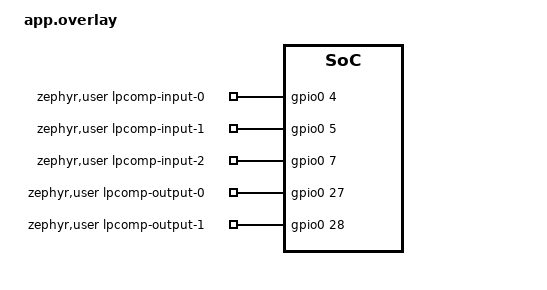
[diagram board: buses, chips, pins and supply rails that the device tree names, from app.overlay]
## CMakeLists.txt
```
# SPDX-License-Identifier: Apache-2.0

cmake_minimum_required(VERSION 3.20.0)
find_package(Zephyr REQUIRED HINTS $ENV{ZEPHYR_BASE})
project(cc27xx_comparator)

target_sources(app PRIVATE src/main.c)
target_sources(app PRIVATE src/comparator_lpf3.c)
```

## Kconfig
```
config LPF3_ENABLE_COMPARATOR_INTERRUPT
	bool "Enable comparator events to generate interrupts"
	default n

config LPCOMP_INPUT_COMBINATION_TEST_ENABLE
	bool "Enable comparator input combination test"
	default n

config LPCOMP_EVENT_TEST_ENABLE
	bool "Enable comparator trigger event test"
	default n

source "Kconfig.zephyr"
```

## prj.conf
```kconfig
# General configurations.

CONFIG_DEBUG=y
CONFIG_MAIN_STACK_SIZE=4096
CONFIG_GPIO=y

# Comparator driver settings.

CONFIG_LPF3_ENABLE_COMPARATOR_INTERRUPT=n

# Settings related to tests.

CONFIG_LPCOMP_INPUT_COMBINATION_TEST_ENABLE=y
CONFIG_LPCOMP_EVENT_TEST_ENABLE=y
```

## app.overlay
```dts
/ {
	zephyr,user {
		lpcomp-input-0-gpios = <&gpio0 4 GPIO_ACTIVE_HIGH>;
		lpcomp-input-1-gpios = <&gpio0 5 GPIO_ACTIVE_HIGH>;
		lpcomp-input-2-gpios = <&gpio0 7 GPIO_ACTIVE_HIGH>;
		lpcomp-output-0-gpios = <&gpio0 27 GPIO_PULL_UP>;
		lpcomp-output-1-gpios = <&gpio0 28 GPIO_PULL_UP>;
	};
};
```

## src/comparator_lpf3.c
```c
#include <zephyr/kernel.h>
#include <zephyr/sys_clock.h>

#include "comparator_lpf3.h"

/**
 * Bit 30 in IOC for DIO is set to enable hysteresis.
 * Bit 29 in IOC for DIO is set to configure it as an input.
 * Bits [14:13] in IOC for DIO is set to 2 to enable pull-up.
 */

#define LPCOMP_GPIO_CONFIG (1U << 30) | (1U << 29) | (2U << 13)

#define LPCOMP_GPIO_MUX IOC_MUX_ANALOG

/**
 * Comparator output takes 1 to 3 LFOSC clock cycles to
 * settle after enabling.
 *
 */

#define LPCOMP_SETTLING_TIME (110U)

#define LPCOMP_POS_INPUT_A1_GPIO 19
#define LPCOMP_POS_INPUT_A2_GPIO 20
#define LPCOMP_POS_INPUT_A3_GPIO 21
#define LPCOMP_POS_INPUT_OPEN    0xFF

#define LPCOMP_NEG_INPUT_A2_GPIO 20
#define LPCOMP_NEG_INPUT_A3_GPIO 21
#define LPCOMP_NEG_INPUT_OPEN    0xFF

#define LPCOMP_OUTPUT_0_GPIO 0
#define LPCOMP_OUTPUT_1_GPIO 15

#define LPCOMP_OUTPUT_GPIO_MUX 4U
#define LPCOMP_IRQ_LINE        (INT_CPUIRQ1 - 16U)

static comparator_lpf3_handle *comparator_isr_handle;

static void comparator_lpf3_isr(const void *arg)
{
	comparator_lpf3_handle *handle = comparator_isr_handle;

	LPCMPClearEvent();

	if (handle) {
		if (handle->data->callback) {
			handle->data->callback(handle, handle->data->callback_user_data);
		}
	}
}

int comparator_lpf3_init(comparator_lpf3_handle *handle)
{
	if (handle == NULL) {
		return -EINVAL;
	}

	if ((handle->config == NULL) || (handle->data == NULL)) {
		return -EINVAL;
	}

	if (handle->data->is_open == true) {
		return -EBUSY;
	}

	int irq_key;

	/* Validate configurations. */

	bool valid_configuration = true;

	/* Validate positive input to comparator. */

	if ((handle->config->positive_input != POS_INPUT_A1) &&
	    (handle->config->positive_input != POS_INPUT_A2) &&
	    (handle->config->positive_input != POS_INPUT_A3) &&
	    (handle->config->positive_input != POS_INPUT_VDDS)) {
		valid_configuration = false;
	}

	/* Validate negative input to comparator. */

	if ((handle->config->negative_input != NEG_INPUT_A2) &&
	    (handle->config->negative_input != NEG_INPUT_A3) &&
	    (handle->config->negative_input != NEG_INPUT_VDDD) &&
	    (handle->config->negative_input != NEG_INPUT_VDDS)) {
		valid_configuration = false;
	}

	/* Validate if external pins assigned to positive and negative pins of
	 * the comparator are the same.
	 */

	if (((handle->config->positive_input == POS_INPUT_A2) &&
	     (handle->config->negative_input == NEG_INPUT_A2)) ||
	    ((handle->config->positive_input == POS_INPUT_A3) &&
	     (handle->config->negative_input == NEG_INPUT_A3))) {
		valid_configuration = false;
	}

	/* Validate voltage divider path. */

	if ((handle->config->voltage_divider_path != VDIV_PATH_POS) &&
	    (handle->config->voltage_divider_path != VDIV_PATH_NEG)) {
		valid_configuration = false;
	}

	/* Validate voltage division factor. */

	if ((handle->config->voltage_division_factor != VDIV_FACTOR_1_1) &&
	    (handle->config->voltage_division_factor != VDIV_FACTOR_1_2) &&
	    (handle->config->voltage_division_factor != VDIV_FACTOR_1_3) &&
	    (handle->config->voltage_division_factor != VDIV_FACTOR_1_4) &&
	    (handle->config->voltage_division_factor != VDIV_FACTOR_3_4)) {
		valid_configuration = false;
	}

	/* Check the initial trigger level. */

	if ((handle->config->initial_trigger_level != TRIGGER_NONE) &&
	    (handle->config->initial_trigger_level != TRIGGER_FALLING) &&
	    (handle->config->initial_trigger_level != TRIGGER_RISING)) {
		valid_configuration = false;
	}

	/* If output is enabled, then check if valid output is selected. */

	if (handle->config->output_enable) {
		if ((handle->config->output != OUTPUT_0) && (handle->config->output != OUTPUT_1)) {
			valid_configuration = false;
		}
	}

	/* If configuration is invalid, do not proceed. */

	if (!valid_configuration) {
		handle->data->is_open = false;
		return -EINVAL;
	}

	/* Store initial trigger configuration. */

	handle->data->trigger = handle->config->initial_trigger_level;

	/* Configure interrupts. */

	irq_key = irq_lock();

	if (handle->config->initial_trigger_level != TRIGGER_NONE) {
		EVTSVTConfigureEvent(EVTSVT_SUB_CPUIRQ1, EVTSVT_PUB_AON_LPMCMP_IRQ);
	}

	IRQ_CONNECT(LPCOMP_IRQ_LINE, 0, comparator_lpf3_isr, NULL, 0);

	if (handle->data->trigger != TRIGGER_NONE) {
		irq_enable(LPCOMP_IRQ_LINE);
	}

	/* Set current comparator handle structure. */

	comparator_isr_handle = handle;

	irq_unlock(irq_key);

	/* Disable comparator before configuration. */

	LPCMPDisableEvent();

	/* Set trigger level for comparator. */

	if (handle->data->trigger != TRIGGER_NONE) {
		uint32_t interrupt_config;

		interrupt_config = (handle->data->trigger == TRIGGER_RISING) ? LPCMP_POLARITY_RISE
									     : LPCMP_POLARITY_FALL;

		LPCMPSetPolarity(interrupt_config);
		LPCMPEnableWakeup();
	}

	/* If external pin is used for comparator inputs, configure the external pin. */

	if (handle->config->positive_input != POS_INPUT_VDDS) {
		/*
		 *   In LPF3 devices, A1 is connected to DIO19, A2 is connected to DIO20
		 *   and A3 is connected to DIO21. Refer to TRM for more details.
		 */

		uint32_t gpio_index;

		switch (handle->config->positive_input) {
		case POS_INPUT_A1:
			gpio_index = LPCOMP_POS_INPUT_A1_GPIO;
			break;

		case POS_INPUT_A2:
			gpio_index = LPCOMP_POS_INPUT_A2_GPIO;
			break;

		case POS_INPUT_A3:
			gpio_index = LPCOMP_POS_INPUT_A3_GPIO;
			break;

		default:
			gpio_index = LPCOMP_POS_INPUT_OPEN;
			break;
		}

		IOCSetConfigAndMux(gpio_index, LPCOMP_GPIO_CONFIG, LPCOMP_GPIO_MUX);
	}

	/* Set input to positive terminal of the comparator. */

	LPCMPSelectPositiveInput((uint32_t)handle->config->positive_input);

	/* If external pin is used for comparator inputs, configure the external pin. */

	if ((handle->config->negative_input != NEG_INPUT_VDDS) &&
	    (handle->config->negative_input != NEG_INPUT_VDDD)) {
		/*
		 *   In LPF3 devices, A1 is connected to DIO19, A2 is connected to DIO20
		 *   and A3 is connected to DIO21. Refer to TRM for more details.
		 */

		uint32_t gpio_index;

		switch (handle->config->negative_input) {
		case NEG_INPUT_A2:
			gpio_index = LPCOMP_NEG_INPUT_A2_GPIO;
			break;

		case NEG_INPUT_A3:
			gpio_index = LPCOMP_NEG_INPUT_A3_GPIO;
			break;

		default:
			gpio_index = LPCOMP_NEG_INPUT_OPEN;
			break;
		}

		IOCSetConfigAndMux(gpio_index, LPCOMP_GPIO_CONFIG, LPCOMP_GPIO_MUX);
	}

	/* Set input to negative terminal for the comparator. */

	LPCMPSelectNegativeInput((uint32_t)handle->config->negative_input);

	/* If user has enabled comparator output, then configure relevant GPIOs. */

	if (handle->config->output_enable) {
		if (handle->config->output == OUTPUT_0) {
			IOCSetConfigAndMux(LPCOMP_OUTPUT_0_GPIO, 0, LPCOMP_OUTPUT_GPIO_MUX);
		} else {
			IOCSetConfigAndMux(LPCOMP_OUTPUT_1_GPIO, 0, LPCOMP_OUTPUT_GPIO_MUX);
		}

		/* Enable comparator output to GPIO pad. */

		HWREG(SYS0_BASE + SYS0_O_LPCMPCFG) |= SYS0_LPCMPCFG_COUTEN_M;
	} else {
		/* Disable comparator output to GPIO pad. */

		HWREG(SYS0_BASE + SYS0_O_LPCMPCFG) &= ~SYS0_LPCMPCFG_COUTEN_M;
	}

	/* Set voltage division ratio and which terminal the voltage division should be
	 * applied to.
	 */

	LPCMPSetDividerRatio((uint32_t)handle->config->voltage_division_factor);
	LPCMPSetDividerPath((uint32_t)handle->config->voltage_divider_path);

	handle->data->is_open = true;

	/* Enable the comparator and wait for 110us for the comparator to
	 *  get activated.
	 */

	LPCMPEnable();
	HapiWaitUs(LPCOMP_SETTLING_TIME);
	LPCMPClearEvent();

	/* If the comparator trigger is set to TRIGGER_RISING or TRIGGER_FALLING,
	 * enable interrupts only if CONFIG_LPF3_ENABLE_COMPARATOR_INTERRUPT is
	 * set to 'y'.
	 */

#if CONFIG_LPF3_ENABLE_COMPARATOR_INTERRUPT

	if (handle->data->trigger != TRIGGER_NONE) {
		LPCMPEnableEvent();
	}

#endif /* CONFIG_LPF3_ENABLE_COMPARATOR_INTERRUPT */

	return 0;
}

int comparator_lpf3_get_output(comparator_lpf3_handle *handle)
{
	int irq_key;
	int level;

	irq_key = irq_lock();

	if (handle == NULL) {
		irq_unlock(irq_key);
		return -EINVAL;
	}

	if ((handle->config == NULL) || (handle->data == NULL)) {
		irq_unlock(irq_key);
		return -EINVAL;
	}

	if (handle->data->is_open == false) {
		irq_unlock(irq_key);
		return -EBUSY;
	}

	level = (int)LPCMPIsOutputHigh();

	irq_unlock(irq_key);

	return level;
}

int comparator_lpf3_set_trigger(comparator_lpf3_handle *handle, comparator_lpf3_trigger trigger)
{
	if (handle == NULL) {
		return -EINVAL;
	}

	if ((handle->config == NULL) || (handle->data == NULL)) {
		return -EINVAL;
	}

	if ((trigger != TRIGGER_NONE) && (trigger != TRIGGER_RISING) &&
	    (trigger != TRIGGER_FALLING)) {
		return -EINVAL;
	}

	if (!handle->data->is_open) {
		return -EBUSY;
	}

	LPCMPDisableEvent();
	LPCMPDisable();

	if (trigger == TRIGGER_NONE) {
		irq_disable(LPCOMP_IRQ_LINE);
		EVTSVTConfigureEvent(EVTSVT_SUB_CPUIRQ1, 0);
		LPCMPDisableWakeup();
	} else {
		LPCMPSetPolarity((trigger == TRIGGER_FALLING) ? LPCMP_POLARITY_FALL
							      : LPCMP_POLARITY_RISE);
		LPCMPEnableWakeup();

		if (handle->data->trigger == TRIGGER_NONE) {
			irq_enable(LPCOMP_IRQ_LINE);
			EVTSVTConfigureEvent(EVTSVT_SUB_CPUIRQ1, EVTSVT_PUB_AON_LPMCMP_IRQ);
		}
	}

	handle->data->trigger = trigger;

	LPCMPEnable();
	HapiWaitUs(LPCOMP_SETTLING_TIME);
	LPCMPClearEvent();
	HapiWaitUs(LPCOMP_SETTLING_TIME);

#if CONFIG_LPF3_ENABLE_COMPARATOR_INTERRUPT
	if (trigger != TRIGGER_NONE) {
		LPCMPEnableEvent();
	}
#endif /* CONFIG_LPF3_ENABLE_COMPARATOR_INTERRUPT */

	return 0;
}

int comparator_lpf3_set_trigger_callback(comparator_lpf3_handle *handle,
					 comparator_lpf3_callback callback, void *user_data)
{
	if (handle == NULL) {
		return -EINVAL;
	}

	if ((handle->config == NULL) || (handle->data == NULL)) {
		return -EINVAL;
	}

	if (handle->data->is_open == false) {
		return -EBUSY;
	}

	if (callback == NULL) {
		return -EINVAL;
	}

	handle->data->callback = callback;
	handle->data->callback_user_data = user_data;

	return 0;
}

int comparator_lpf3_trigger_is_pending(comparator_lpf3_handle *handle)
{
	if (handle == NULL) {
		return -EINVAL;
	}

	if ((handle->config == NULL) || (handle->data == NULL)) {
		return -EINVAL;
	}

	if (handle->data->is_open == false) {
		return -EBUSY;
	}

	if (HWREG(SYS0_BASE + SYS0_O_LPCMPCFG) & SYS0_LPCMPCFG_EVTIFG) {
		LPCMPClearEvent();
		return 1;
	}

	return 0;
}

int comparator_lpf3_deinit(comparator_lpf3_handle *handle)
{
	int irq_key;

	irq_key = irq_lock();

	if (handle == NULL) {
		irq_unlock(irq_key);
		return -EINVAL;
	}

	if ((handle->config == NULL) || (handle->data == NULL)) {
		irq_unlock(irq_key);
		return -EINVAL;
	}

	if (!handle->data->is_open) {
		irq_unlock(irq_key);
		return -EBUSY;
	}

	LPCMPDisableEvent();
	LPCMPDisable();

	handle->data->is_open = false;
	handle->data->callback_user_data = NULL;
	handle->data->callback = NULL;

	comparator_isr_handle = NULL;

	LPCMPClearEvent();

#if CONFIG_LPF3_ENABLE_COMPARATOR_INTERRUPT

	irq_disable(LPCOMP_IRQ_LINE);
	EVTSVTConfigureEvent(EVTSVT_SUB_CPUIRQ1, 0);

#endif /* CONFIG_LPF3_ENABLE_COMPARATOR_INTERRUPT */

	HWREG(SYS0_BASE + SYS0_O_LPCMPCFG) = 0U;

	irq_unlock(irq_key);

	return 0;
}
```

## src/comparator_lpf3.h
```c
#include <inc/hw_memmap.h>
#include <inc/hw_types.h>
#include <driverlib/lpcmp.h>
#include <driverlib/evtsvt.h>
#include <driverlib/ioc.h>
#include <driverlib/gpio.h>
#include <driverlib/hapi.h>
#include <inc/hw_ints.h>

/* Comparator positive input channels. */

typedef enum {
	POS_INPUT_A1 = LPCMP_POS_INPUT_A1,
	POS_INPUT_A2 = LPCMP_POS_INPUT_A2,
	POS_INPUT_A3 = LPCMP_POS_INPUT_A3,
	POS_INPUT_VDDS = LPCMP_POS_INPUT_VDDS
} comparator_lpf3_positive_input;

/* Comparator negative input channels. */

typedef enum {
	NEG_INPUT_VDDD = LPCMP_NEG_INPUT_VDDD,
	NEG_INPUT_VDDS = LPCMP_NEG_INPUT_VDDS,
	NEG_INPUT_A2 = LPCMP_NEG_INPUT_A2,
	NEG_INPUT_A3 = LPCMP_NEG_INPUT_A3
} comparator_lpf3_negative_input;

/* Comparator output channels. */

typedef enum {
	OUTPUT_NONE = 0,
	OUTPUT_0,
	OUTPUT_1,
} comparator_lpf3_output;

/* Voltage divider path. */

typedef enum {
	VDIV_PATH_NEG = LPCMP_DIVISION_PATH_N,
	VDIV_PATH_POS = LPCMP_DIVISION_PATH_P
} comparator_lpf3_voltage_divider_path;

/* Voltage division factors. */

typedef enum {
	VDIV_FACTOR_1_1 = LPCMP_DIVISION_FACTOR_1_1,
	VDIV_FACTOR_3_4 = LPCMP_DIVISION_FACTOR_3_4,
	VDIV_FACTOR_1_3 = LPCMP_DIVISION_FACTOR_1_3,
	VDIV_FACTOR_1_2 = LPCMP_DIVISION_FACTOR_1_2,
	VDIV_FACTOR_1_4 = LPCMP_DIVISION_FACTOR_1_4
} comparator_lpf3_voltage_division_factor;

/* Comparator event generation edge selection. */

typedef enum {
	TRIGGER_NONE = 0,
	TRIGGER_RISING = 1,
	TRIGGER_FALLING = 2
} comparator_lpf3_trigger;

/* Forward declaration of configuration, data and handle structures. */

typedef struct comparator_lpf3_config_struct comparator_lpf3_config;
typedef struct comparator_lpf3_data_struct comparator_lpf3_data;
typedef struct comparator_lpf3_handle_struct comparator_lpf3_handle;

/* Comparator callback function */

typedef void (*comparator_lpf3_callback)(comparator_lpf3_handle *handle, void *user_data);

/*
 *   Configuration structure for the comparator driver. Maintains immutable
 *   settings relevant to the comparator module.
 */

typedef struct comparator_lpf3_config_struct {

	/* Signal to the positive terminal of the comparator. */
	comparator_lpf3_positive_input positive_input;

	/* Signal to the negative terminal of the comparator. */
	comparator_lpf3_negative_input negative_input;

	/* Output path to which the comparator output signal has to be routed to. */
	comparator_lpf3_output output;

	/* Enable comparator output to be mapped to a GPIO pin. */
	bool output_enable;

	/* Select whether voltage division must apply to positive or negative input. */
	comparator_lpf3_voltage_divider_path voltage_divider_path;

	/* Select the factor by which the voltage divider must attenuate the signal. */
	comparator_lpf3_voltage_division_factor voltage_division_factor;

	/* Initial trigger selection for the comparator. */
	comparator_lpf3_trigger initial_trigger_level;
} comparator_lpf3_config;

/* Structure for tracking the run-time configurations and state of the
 *  comparator driver.
 */

typedef struct comparator_lpf3_data_struct {

	/* Flag to check if the comparator module has been initialized or not. */
	bool is_open;

	/* Comparator trigger level. */
	comparator_lpf3_trigger trigger;

	/* Comparator event callback function. */
	comparator_lpf3_callback callback;

	/* Pointer to callback function argument. */
	void *callback_user_data;
} comparator_lpf3_data;

/* Comparator handle. */

typedef struct comparator_lpf3_handle_struct {
	const comparator_lpf3_config *config;
	comparator_lpf3_data *data;
} comparator_lpf3_handle;

/**
 * @brief               Initializes the comparator.
 * @param[in] handle    Pointer to a comparator handle structure.
 * @return              0 is initialization is successful. Error code if initialization
 *                      fails.
 * @details             Before calling this function, structure pointed to by \p handle
 *                      must be initialized with valid data and configuration pointers.
 *                      The configuration structure must have valid configuration settings
 *                      or else the initialization will fail.
 */

extern int comparator_lpf3_init(comparator_lpf3_handle *handle);

/**
 * @brief               Gets output of the comparator.
 * @param[in] handle    Pointer to a comparator handle structure.
 * @return              0 if comparator output is low, 1 if comparator output is high
 *                      or error code in case of error.
 * @details             Before calling this function make sure to call \ref comparator_lpf3_init.
 *                      Returns -EINVAL if \p handle is NULL.
 *                      Returns -EBUSY if \ref comparator_lpf3_init function is not called before
 *                      calling this function.
 */

extern int comparator_lpf3_get_output(comparator_lpf3_handle *handle);

/**
 * @brief               Sets comparator trigger level.
 * @param[in]   handle  Pointer to comparator handle structure.
 * @param[in]   trigger Comparator trigger edge. Can be either rising or falling.
 * @return              0 if configuration succeeds, or returns an error code if fails.
 *                      Returns -EBUSY if called before initializing the driver.
 *                      Returns -EINVAL if \p trigger is assigned any other value other
 *                      than TRIGGERN_NONE, TRIGGER_RISING, TRIGGER_FALLING.
 */

extern int comparator_lpf3_set_trigger(comparator_lpf3_handle *handle,
				       comparator_lpf3_trigger trigger);

/**
 * @brief               Sets callback function be called when a comparator event occurs.
 * @param[in] handle    Pointer to comparator handle structure.
 * @param[in] callback  Function to be called when comparator event occurs.
 * @param[in] user_data Pointer to callback function user argument.
 * @return              0 if configuration is successful. Returns error code in case of invalid
 * arguments.
 * @details             This function sets the callback function and the pointer to callback
 * function argument. When calling this function the driver must be initialized by calling \ref
 * comparator_lpf3_init Otherwise, the driver throws -EBUSY error indicating that the API is not
 * ready to be called. Also \p callback must not be NULL, otherwise, the function will return
 * -EINVAL as it does not accept NULL function pointers.
 */

extern int comparator_lpf3_set_trigger_callback(comparator_lpf3_handle *handle,
						comparator_lpf3_callback callback, void *user_data);

/**
 * @brief               Function to check if an interrupt is pending and clear it.
 * @param[in] handle    Pointer to comparator handle structure.
 * @return              1 if there was a pending event, 0 if no comparator event has occurred.
 * @details             This function checks for comparator events and returns 1 if a comparator
 * event has occurred, else returns 0. The function will returns -EINVAL if \p handle is NULL.
 */

extern int comparator_lpf3_trigger_is_pending(comparator_lpf3_handle *handle);

/**
 * @brief               Deinitializes the comparator.
 * @param[in] handle    Pointer to a comparator handle structure.
 * @return              0 is deinitialization is successful. Error code if initialization
 *                      fails.
 * @details             Disables the comparator module and its interrupts. Sets the callback
 * function and the pointer to the callback function argument to NULL. If using the same handle to
 * re-initialization, make sure to call \ref comparator_lpf3_set_trigger_callback after calling
 * comparator_lpf3_init.
 */

extern int comparator_lpf3_deinit(comparator_lpf3_handle *handle);
```
